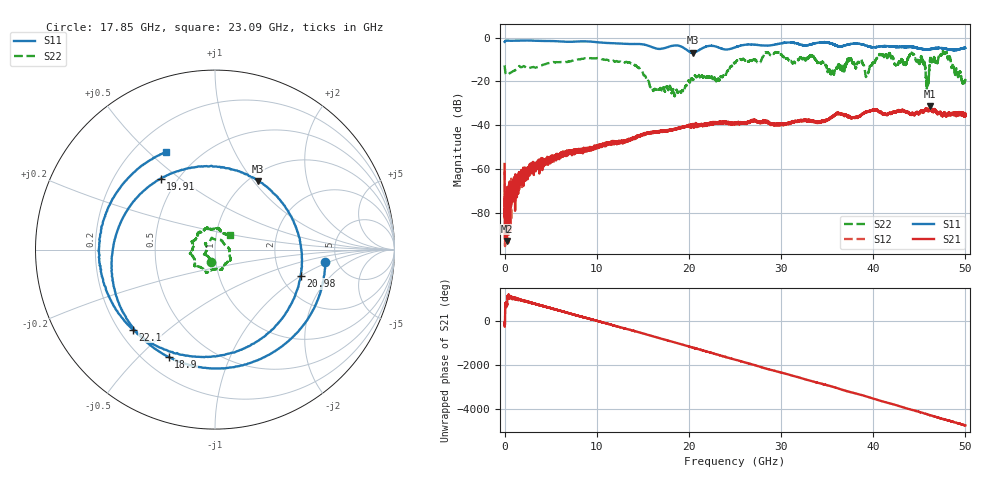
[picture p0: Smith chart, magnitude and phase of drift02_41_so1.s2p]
!Created with skrf (http://scikit-rf.org).
# Hz S RI R 50.0
!freq ReS11 ImS11 ReS21 ImS21 ReS12 ImS12 ReS22 ImS22
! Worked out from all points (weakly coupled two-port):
!   10001 points, 300 kHz to 50 GHz, reference 50 ohm
!   highest |S21| = -31.39 dB at 46.2 GHz (marker M1); lowest = -92.6 dB at 215.3 MHz (marker M2)
!   lowest |S11| = -6.9 dB at 20.41 GHz (marker M3), VSWR 2.64, Z = 55.4 + j52.8 ohm
!   |S11| at or under -10 dB: nowhere
!   |S22| runs from -26.7 to -6.1 dB; largest |S21 - S12| = 0.0028
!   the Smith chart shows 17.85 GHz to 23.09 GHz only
!   S11 on the Smith chart (normalised r, x): 17.85 GHz: 4.00, -0.92; 18.9 GHz: 0.30, -0.62; 19.91 GHz: 0.41, +0.43; 20.98 GHz: 2.55, -1.00; 22.1 GHz: 0.25, -0.38; 23.09 GHz: 0.33, +0.56
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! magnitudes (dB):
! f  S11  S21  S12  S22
! 300 kHz  -2.1  -57.6  -60.8  -12.7
! 215.3 MHz  -1.4  -92.6  -85.1  -17.0
! 3.03 GHz  -1.4  -59.2  -59.6  -13.5
! 8.335 GHz  -1.7  -51.5  -51.1  -9.7
! 13.7 GHz  -2.9  -46.2  -46.3  -11.7
! 16.67 GHz  -5.2  -42.7  -42.9  -23.6
! 17.85 GHz  -4.2  -42.3  -42.3  -22.9
! 18.9 GHz  -3.7  -41.3  -41.2  -23.9
! 19.91 GHz  -6.0  -40.6  -40.3  -19.8
! 20.41 GHz  -6.9  -40.2  -40.2  -19.2
! 20.98 GHz  -6.0  -39.4  -40.1  -16.7
! 22.1 GHz  -3.9  -39.7  -39.7  -17.6
! 23.09 GHz  -4.3  -38.8  -38.8  -18.8
! 25 GHz  -4.5  -38.8  -39.1  -11.5
! 33.34 GHz  -3.0  -37.9  -37.5  -8.4
! 39.33 GHz  -3.8  -33.6  -33.8  -16.7
! 41.67 GHz  -3.9  -34.7  -34.8  -7.7
! 44.27 GHz  -4.3  -34.5  -34.5  -7.4
! 45.85 GHz  -5.5  -32.8  -32.9  -23.2
! 46.2 GHz  -5.2  -31.4  -31.6  -9.4
! 47.75 GHz  -5.0  -34.9  -34.6  -7.1
! 50 GHz  -4.7  -35.4  -35.7  -18.8
